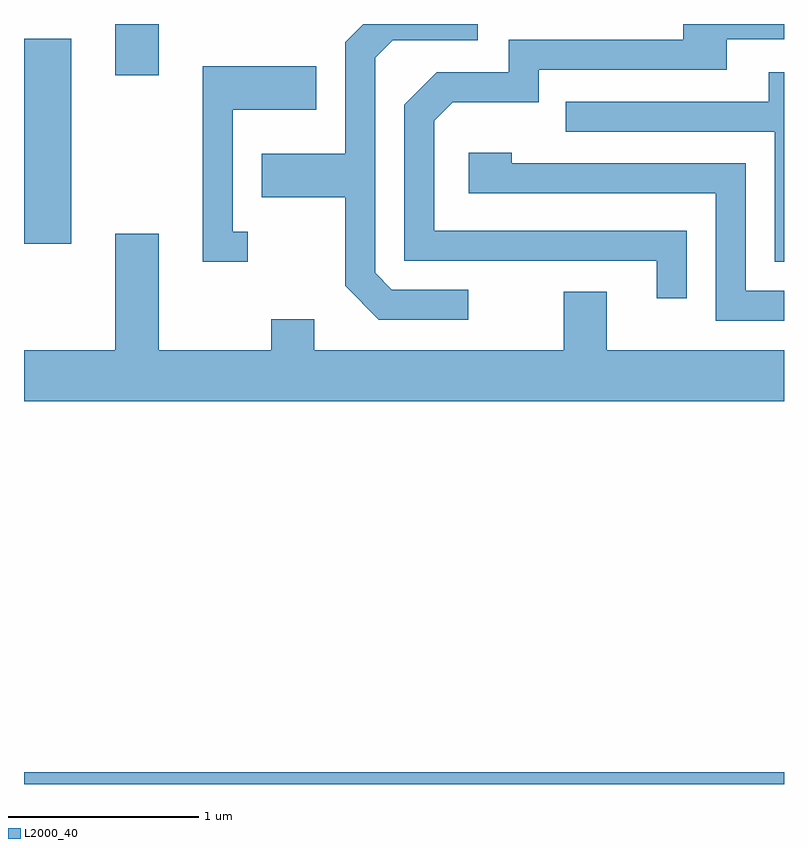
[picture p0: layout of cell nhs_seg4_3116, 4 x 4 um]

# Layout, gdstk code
import gdstk
lib = gdstk.Library(unit=1e-6, precision=1e-09)
def R(c, l, rs):  # rectangles x0, y0, x1, y1
    for r in rs: c.add(gdstk.rectangle(r[:2], r[2:], *l))
def P(c, l, *ps):  # polygons
    for p in ps: c.add(gdstk.Polygon(p, *l))
L2000_40 = (2000, 40)

nhs_seg4_3116 = lib.new_cell('nhs_seg4_3116')
R(nhs_seg4_3116, L2000_40, [(275.611,1365.982,279.611,1366.044), (275.611,1368.826,275.859,1369.904), (276.091,1369.711,276.319,1369.982)])
P(nhs_seg4_3116, L2000_40, [(279.099,1368.894),(277.769,1368.894),(277.769,1369.474),(277.867,1369.571),(278.319,1369.571),(278.319,1369.741),(279.309,1369.741),(279.309,1369.901),(279.611,1369.901),(279.611,1369.982),(279.081,1369.982),(279.081,1369.899),(278.161,1369.899),(278.161,1369.729),(277.784,1369.729),(277.611,1369.557),(277.611,1368.736),(278.941,1368.736),(278.941,1368.538),(279.099,1368.538)],
  [(277.948,1368.584),(277.547,1368.584),(277.459,1368.672),(277.459,1369.804),(277.552,1369.896),(277.998,1369.896),(277.998,1369.982),(277.397,1369.982),(277.301,1369.887),(277.301,1369.299),(276.861,1369.299),(276.861,1369.071),(277.301,1369.071),(277.301,1368.604),(277.479,1368.426),(277.948,1368.426)],
  [(276.788,1368.889),(276.709,1368.889),(276.709,1369.531),(277.149,1369.531),(277.149,1369.759),(276.551,1369.759),(276.551,1368.731),(276.788,1368.731)],
  [(279.611,1369.729),(279.531,1369.729),(279.531,1369.574),(278.463,1369.574),(278.463,1369.416),(279.561,1369.416),(279.561,1368.731),(279.611,1368.731)],
  [(279.611,1368.579),(279.409,1368.579),(279.409,1369.249),(278.179,1369.249),(278.179,1369.304),(277.951,1369.304),(277.951,1369.091),(279.251,1369.091),(279.251,1368.421),(279.611,1368.421)],
  [(279.611,1368.264),(278.679,1368.264),(278.679,1368.574),(278.451,1368.574),(278.451,1368.264),(277.139,1368.264),(277.139,1368.429),(276.911,1368.429),(276.911,1368.264),(276.319,1368.264),(276.319,1368.879),(276.091,1368.879),(276.091,1368.264),(275.611,1368.264),(275.611,1367.996),(279.611,1367.996)])

lib.write_gds('nhs_seg4_3116.gds')
